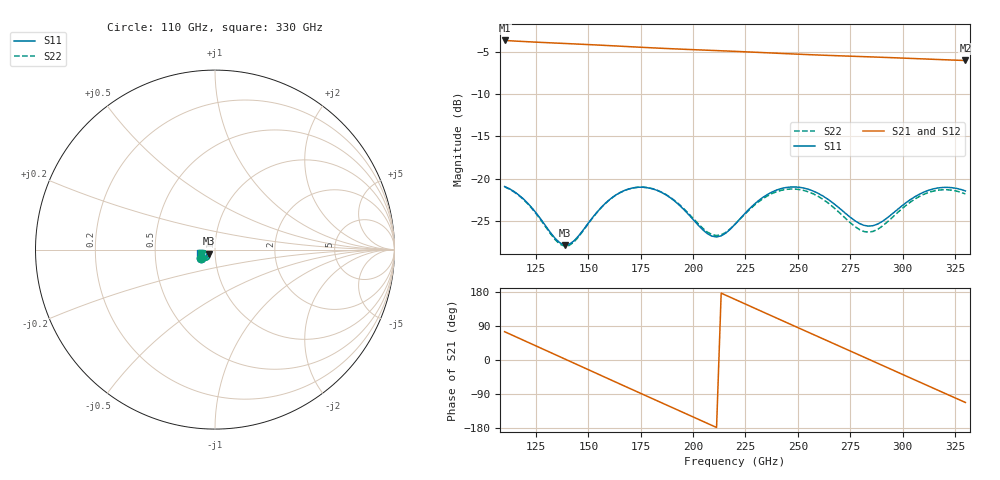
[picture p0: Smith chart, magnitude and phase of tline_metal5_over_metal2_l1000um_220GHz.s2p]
#  GHZ S DB R 50
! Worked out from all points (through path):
!   101 points, 110 GHz to 330 GHz, reference 50 ohm
!   highest |S21| = -3.67 dB at 110 GHz (marker M1); lowest = -6.0 dB at 330 GHz (marker M2)
!   group delay of S21, straight-line fit = 6.9 ps
!   lowest |S11| = -27.8 dB at 138.6 GHz (marker M3), VSWR 1.08, Z = 46.7 - j2.1 ohm
!   |S11| at or under -10 dB: start of sweep to end of sweep
!   |S22| runs from -27.9 to -20.9 dB; largest |S21 - S12| = 6.6e-14
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110  -20.91 -147.7  -3.67 74.7  -3.67 74.7  -20.95 -147.8
125.4  -24.15 -165.0  -3.87 36.1  -3.87 36.1  -24.23 -165.3
138.6  -27.80 -146.6  -4.02 3.0  -4.02 3.0  -27.95 -146.4
147.4  -26.08 -126.8  -4.12 -19.1  -4.12 -19.1  -26.16 -126.3
158.4  -22.82 -127.6  -4.26 -46.7  -4.26 -46.7  -22.85 -127.3
167.2  -21.38 -137.7  -4.37 -68.7  -4.37 -68.7  -21.39 -137.5
176  -20.99 -149.8  -4.48 -90.6  -4.48 -90.6  -20.99 -149.8
184.8  -21.59 -161.3  -4.59 -112.5  -4.59 -112.5  -21.55 -161.3
202.4  -25.46 -167.8  -4.78 -156.2  -4.78 -156.2  -25.30 -168.4
211.2  -26.86 -151.8  -4.87 -178.1  -4.87 -178.1  -26.70 -153.7
220  -25.37 -136.2  -4.96 160.0  -4.96 160.0  -25.37 -138.8
231  -22.62 -136.2  -5.08 132.6  -5.08 132.6  -22.76 -138.7
239.8  -21.33 -144.4  -5.18 110.8  -5.18 110.8  -21.53 -146.8
248.6  -20.96 -154.6  -5.27 89.0  -5.27 89.0  -21.21 -157.1
257.4  -21.45 -164.2  -5.36 67.3  -5.36 67.3  -21.78 -166.8
268.4  -23.17 -170.9  -5.47 40.1  -5.47 40.1  -23.67 -173.4
277.2  -24.94 -167.0  -5.54 18.4  -5.54 18.4  -25.62 -168.5
286  -25.53 -153.7  -5.62 -3.4  -5.62 -3.4  -26.20 -153.2
294.8  -24.19 -143.7  -5.70 -25.2  -5.70 -25.2  -24.63 -142.5
312.4  -21.35 -150.0  -5.87 -68.7  -5.87 -68.7  -21.61 -150.0
321.2  -21.01 -158.5  -5.96 -90.4  -5.96 -90.4  -21.29 -159.1
330  -21.43 -166.4  -6.03 -112.1  -6.03 -112.1  -21.79 -167.5
